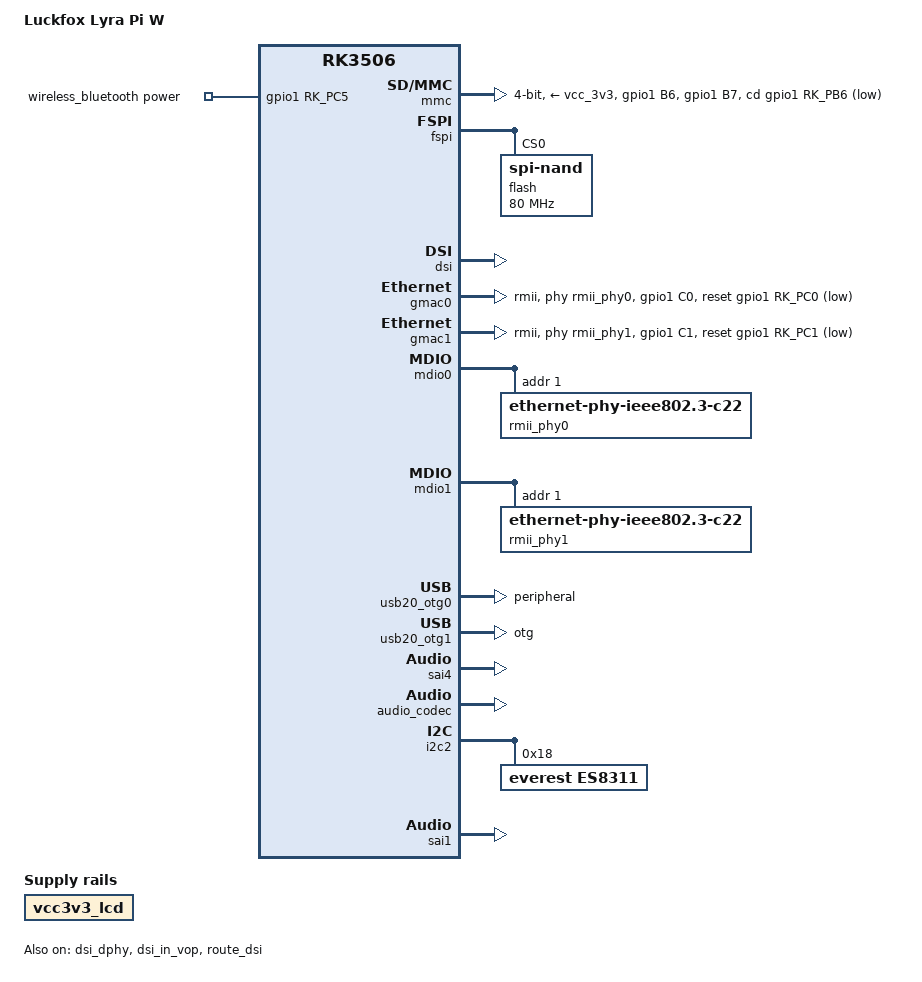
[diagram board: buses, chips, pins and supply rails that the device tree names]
// SPDX-License-Identifier: (GPL-2.0+ OR MIT)
/*
 * Copyright (c) 2024 Rockchip Electronics Co., Ltd.
 */

/dts-v1/;

#include "rk3506-luckfox-lyra-ultra.dtsi"

/ {
	model = "Luckfox Lyra Pi W";
	compatible = "rockchip,rk3506g-demo-display-control", "rockchip,rk3506";

	chosen {
		bootargs = "earlycon=uart8250,mmio32,0xff0a0000 console=tty1 console=ttyFIQ0 storagemedia=sd root=/dev/mmcblk0p3 rootfstype=ext4 rootwait snd_aloop.index=7 snd_aloop.use_raw_jiffies=1";
	};

	es8311_sound: es8311-sound {
		status = "okay";
		compatible = "simple-audio-card";
		simple-audio-card,format = "i2s";
		simple-audio-card,mclk-fs = <256>;
		simple-audio-card,name = "rockchip,es8311-sound";
		simple-audio-card,cpu {
			sound-dai = <&sai1>;
		};
		simple-audio-card,codec {
			sound-dai = <&es8311>;
		};

	};

	wireless_bluetooth: wireless-bluetooth {
		compatible = "bluetooth-platdata";
		BT,power_gpio = <&gpio1 RK_PC5 GPIO_ACTIVE_HIGH>;
		status = "okay";
	};

	vcc3v3_lcd: vcc3v3-lcd {
		status = "okay";
		compatible = "regulator-fixed";
		pinctrl-names = "default";
		pinctrl-0 = <&lcd_pwren_h>;
		regulator-name = "vcc3v3_lcd";
		regulator-always-on;
	};
};

/**********media**********/
&mmc{
	/* For Sdmmc */
	max-frequency = <52000000>;
	bus-width = <4>;
	no-sdio;
	no-mmc;
	cap-mmc-highspeed;
	cap-sd-highspeed;
	cd-gpios = <&gpio1 RK_PB6 GPIO_ACTIVE_LOW>; //det
	disable-wp;
	//sd-uhs-sdr104;
	pinctrl-names = "default";
	pinctrl-0 = <&sdmmc_clk_pins &sdmmc_cmd_pins &sdmmc_bus4_pins &sdmmc_det &sdmmc_pwren>;
	vqmmc-supply = <&vcc_3v3>;
	vmmc-supply = <&vcc_3v3>;
	status = "okay";
};

&fspi {
	status = "okay";

	flash@0 {
		compatible = "spi-nand";
		reg = <0>;
		spi-max-frequency = <80000000>;
		spi-rx-bus-width = <4>;
		spi-tx-bus-width = <1>;
	};
};

/**********display**********/
&cma {
	size = <0x2000000>;
};

&dsi {
	status = "okay";
};

&dsi_dphy {
	status = "okay";
};

&dsi_in_vop {
	status = "okay";
};

&route_dsi {
	status = "okay";
};

&dsi_panel {
	power-supply = <&vcc3v3_lcd>;
};

/**********ethernet**********/
&gmac0 {
	phy-mode = "rmii";
	clock_in_out = "output";

	assigned-clocks = <&cru CLK_MAC_OUT>;
	assigned-clock-rates = <25000000>;

	snps,reset-gpio = <&gpio1 RK_PC0 GPIO_ACTIVE_LOW>;
	snps,reset-active-low;
	snps,reset-delays-us = <0 20000 100000>;

	pinctrl-names = "default";
	pinctrl-0 = <&eth_clk0_25m_out_pins
			 &eth_rmii0_miim_pins
			 &eth_rmii0_tx_bus2_pins
			 &eth_rmii0_rx_bus2_pins
			 &eth_rmii0_clk_pins
			 &rmii0_rstn>;

	phy-handle = <&rmii_phy0>;
	status = "okay";
};

&gmac1 {
	phy-mode = "rmii";
	clock_in_out = "output";

	snps,reset-gpio = <&gpio1 RK_PC1 GPIO_ACTIVE_LOW>;
	snps,reset-active-low;
	snps,reset-delays-us = <0 20000 100000>;

	pinctrl-names = "default";
	pinctrl-0 = <&eth_clk1_25m_out_pins
			 &eth_rmii1_miim_pins
			 &eth_rmii1_tx_bus2_pins
			 &eth_rmii1_rx_bus2_pins
			 &eth_rmii1_clk_pins
			 &rmii1_rstn>;

	phy-handle = <&rmii_phy1>;
	status = "okay";
};

&mdio0 {
	rmii_phy0: phy@1 {
		compatible = "ethernet-phy-ieee802.3-c22";
		reg = <0x1>;
		clocks = <&cru CLK_MAC_OUT>;
		assigned-clocks = <&cru CLK_MAC_OUT>;
		assigned-clock-rates = <12500000>;
	};
};

&mdio1 {
	rmii_phy1: phy@1 {
		compatible = "ethernet-phy-ieee802.3-c22";
		reg = <0x1>;
		clocks = <&cru CLK_MAC_OUT>;
		assigned-clocks = <&cru CLK_MAC_OUT>;
		assigned-clock-rates = <25000000>;
	};
};

/**********usb**********/
&usb20_otg0 {
	dr_mode = "peripheral";
	status = "okay";
};

&usb20_otg1 {
	dr_mode = "otg";
	status = "okay";
};

/**********audio**********/
&sai4 {
	status = "okay";
};

&audio_codec {
	status = "okay";
};

&i2c2 {
	status = "okay";

	es8311: es8311@18 {
		compatible = "everest,es8311";
		reg = <0x18>;
		clocks = <&mclkout_sai1>;
		clock-names = "mclk";
		assigned-clocks = <&mclkout_sai1>;
		assigned-clock-rates = <12288000>;

		#sound-dai-cells = <0>;
		adc-pga-gain = <6>; /* 18dB */
		adc-volume = <0xbf>; /* 0dB */
		dac-volume = <0xbf>; /* 0dB */
		aec-mode = "adc left, adc right";
	};
};

&sai1 {
	status = "okay";
	pinctrl-names = "default";
	pinctrl-0 = <&rm_io16_sai1_mclk
			 &rm_io17_sai1_sclk
			 &rm_io18_sai1_lrck
			 &rm_io28_sai1_sdi
			 &rm_io29_sai1_sdo0>;
};

/**********pinctrl**********/
&pinctrl {
	ethernet {
		rmii0_rstn: rmii0-rstn {
			rockchip,pins = <1 RK_PC0 RK_FUNC_GPIO &pcfg_pull_up>;
		};

		rmii1_rstn: rmii1-rstn {
			rockchip,pins = <1 RK_PC1 RK_FUNC_GPIO &pcfg_pull_up>;
		};
	};

	lcd {
		lcd_pwren_h: lcd-pwren-h {
			rockchip,pins = <1 RK_PC4 RK_FUNC_GPIO &pcfg_pull_up>;
		};
	};

	acodec-dsm {
		/omit-if-no-ref/
		dsm_spk_ctrl: dsm-spk-ctrl {
			rockchip,pins = <1 RK_PC6 RK_FUNC_GPIO &pcfg_pull_none>;
		};
	};

	dsm_aud {
		/omit-if-no-ref/
		dsm_audm1_pins: dsm-audm1-pins {
			rockchip,pins =
				/* dsm_aud_rn_m1 */
				<2 RK_PB4 2 &pcfg_pull_none>,
				/* dsm_aud_rp_m1 */
				<2 RK_PB5 2 &pcfg_pull_none>;
		};

		/omit-if-no-ref/
		dsm_audm1_iodown_pins: dsm-audm1-iodown-pins {
			rockchip,pins =
				/* dsm_aud_rn_m1 */
				<2 RK_PB4 RK_FUNC_GPIO &pcfg_pull_down>,
				/* dsm_aud_rp_m1 */
				<2 RK_PB5 RK_FUNC_GPIO &pcfg_pull_down>;
		};
	};

	sdmmc {
		/omit-if-no-ref/
		sdmmc_pwren: sdmmc-pwren {
			rockchip,pins = <1 RK_PB7 RK_FUNC_GPIO &pcfg_pull_down>;
		};

		sdmmc_det: sdmmc-det {
			rockchip,pins = <1 RK_PB6 RK_FUNC_GPIO &pcfg_pull_up>;
		};
	};

};
